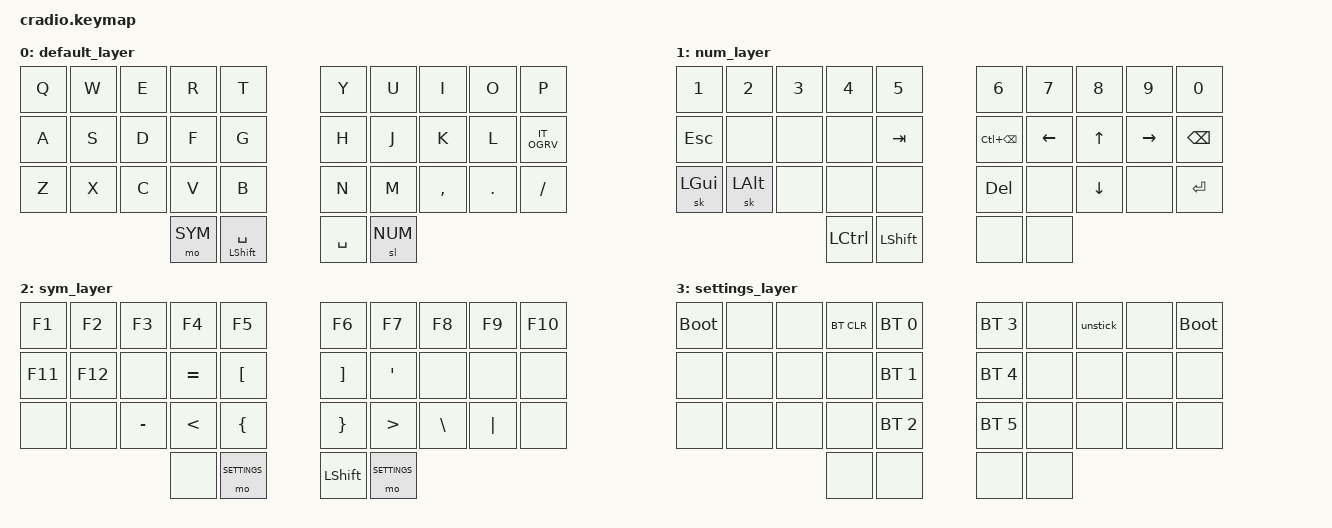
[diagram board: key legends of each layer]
/*
 * Copyright (c) 2020 The ZMK Contributors
 *
 * SPDX-License-Identifier: MIT
 */

#include <behaviors.dtsi>
#include <dt-bindings/zmk/keys.h>
#include <dt-bindings/zmk/bt.h>
#include "keymap_italian.h"
#include <dt-bindings/zmk/ext_power.h>

// Layer definitions
    #define BASE 0
    #define NUM 1
    #define SYM 2
    //#define FNC 3
    //#define SYM2 4
    //#define ACCENT 5
		#define SETTINGS 6
// -----------------

&mt {
   //  flavor = "tap-preferred";
   // tapping_term_ms = <200>;
};

nice_view_spi: &spi0 {

compatible = "nordic,nrf-spim";

mosi-pin = <39>;

sck-pin = <34>;

miso-pin = <2>; // unused on sweep

cs-gpios = <&gpio1 1 GPIO_ACTIVE_HIGH>;
};

&sk {
    ignore-modifiers;
};

/ {
		macros {
				// sometimes my device thinks a modifier is being held down
				// pressing all modifiers fixes it.
				unstick: unstick {
					label = "ZM_unstick";
					compatible = "zmk,behavior-macro";
					#binding-cells = <0>;
					bindings
						= <&kp LSHIFT &kp RSHIFT &kp LCTRL &kp RCTRL &kp LALT &kp RALT &kp LGUI &kp RGUI>;
				};
		};

    combos {
        compatible = "zmk,combos";
				// both right thumb keys
        /*combo_accent {
            timeout-ms = <300>;
            key-positions = <32 33>;
            bindings = <&mo ACCENT>;
        };
				// internal-left & external-right thumb keys
				combo_sym2 {
						timeout-ms = <200>;
						key-positions = <31 33>;
						bindings = <&mo SYM2>;
				};*/
				// both left thumb keys
				combo_settings {
						timeout-ms = <300>;
						key-positions = <30 31>;
						bindings = <&mo SETTINGS>;
				};
    };

    keymap {
            compatible = "zmk,keymap";

        // Base alpha layer
       		default_layer {
		bindings = <
		&kp Q &kp W &kp E &kp R &kp T           &kp Y &kp U  &kp I     &kp O   &kp P 
		&kp A &kp S &kp D &kp F &kp G           &kp H &kp J  &kp K     &kp L &kp IT_OGRV
		&kp Z &kp X &kp C &kp V &kp B           &kp N &kp M  &kp COMMA &kp DOT &kp SLASH
             &mo SYM &mt LSHIFT SPACE           &kp SPACE &sl NUM
		>;
		};

        // Numbers and high frequency symbols
       		num_layer {
		bindings = <
		&kp N1 &kp N2 &kp N3 &kp N4 &kp N5		&kp N6 &kp N7 &kp N8 &kp N9 &kp N0
		&kp ESC &none &none &none &kp TAB  		&kp LC(BSPC) &kp LEFT &kp UP &kp RIGHT &kp BSPC
		&sk LGUI &sk LALT &none &none &none 		&kp DEL &none &kp DOWN &none &kp ENTER
		&kp LCTRL &kp LSHIFT       &none &none
		>;
		};

        // Main modifiers and arrow keys
		    sym_layer {
		bindings = <
		&kp F1 &kp F2 &kp F3 &kp F4 &kp F5			&kp F6 &kp F7 &kp F8 &kp F9 &kp F10
		&kp F11 &kp F12 &none &kp EQUAL &kp LBKT  	&kp RBKT &kp SQT &none &none &none
		&none &none &kp MINUS &kp LT &kp LBRC		&kp RBRC &kp GT &kp BSLH &kp PIPE &none
					     	&none  &mo SETTINGS       	&kp LSHIFT &mo SETTINGS
		>;
		};

        // Used to change the keyboard's settings.
       		settings_layer {
		bindings = <
		&bootloader &none &none &bt BT_CLR &bt BT_SEL 0               &bt BT_SEL 3 &none &unstick &none &bootloader 
		&none &none &none &none      &bt BT_SEL 1 						  &bt BT_SEL 4 &none &none &none &none
		&none &none &none &none      &bt BT_SEL 2               &bt BT_SEL 5 &none &none &none &none
          				     &none &none                         &none &none 
		>;
		};
        
	};
};
